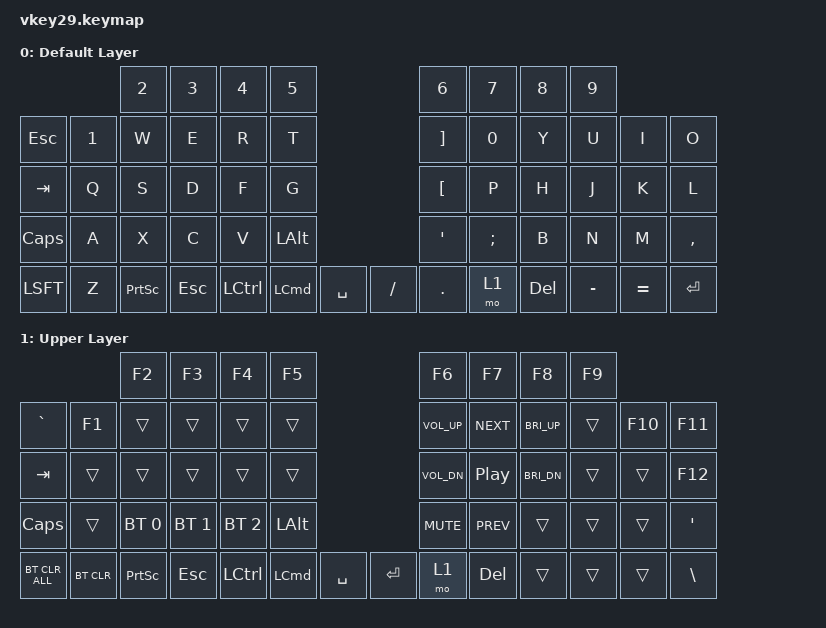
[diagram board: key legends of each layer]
#include <behaviors.dtsi>
#include <dt-bindings/zmk/keys.h>
#include <dt-bindings/zmk/bt.h>

/ {
    keymap {
        compatible = "zmk,keymap";

        default_layer {
            display-name = "Default Layer";
            bindings = <
                                  &kp N2   &kp N3   &kp N4   &kp N5                     &kp N6   &kp N7   &kp N8   &kp N9

                &kp ESC  &kp N1   &kp W    &kp E    &kp R    &kp T                      &kp RBKT  &kp N0    &kp Y    &kp U    &kp I   &kp O

                &kp TAB  &kp Q    &kp S    &kp D    &kp F    &kp G                      &kp LBKT  &kp P    &kp H    &kp J    &kp K    &kp L

                &kp CAPS &kp A    &kp X    &kp C    &kp V    &kp LALT                   &kp SQT &kp SEMI  &kp B  &kp N    &kp M &kp COMMA

                &kp LSFT &kp Z    &kp PSCRN &kp ESC &kp LCTRL &kp LCMD &kp SPC   &kp FSLH  &kp DOT  &mo 1    &kp DEL &kp MINUS &kp EQUAL &kp RET
            >;
        };

        upper_layer {
            display-name = "Upper Layer";
            bindings = <
                &kp F2   &kp F3   &kp F4   &kp F5         &kp F6       &kp F7     &kp F8       &kp F9

                &kp GRAVE &kp F1  &trans   &trans   &trans   &trans     &kp C_VOL_UP &kp C_NEXT &kp C_BRI_UP &trans  &kp F10 &kp F11

                &kp TAB  &trans   &trans   &trans   &trans   &trans     &kp C_VOL_DN &kp C_PP   &kp C_BRI_DN &trans  &trans  &kp F12

                &kp CAPS &trans   &bt BT_SEL 0 &bt BT_SEL 1 &bt BT_SEL 2 &kp LALT   &kp C_MUTE &kp C_PREV &trans  &trans  &trans  &kp SQT

                &bt BT_CLR_ALL &bt BT_CLR &kp PSCRN &kp ESC &kp LCTRL &kp LCMD &kp SPC   &kp RET  &mo 1    &kp DEL  &trans  &trans  &trans  &kp BSLH
            >;
        };
    };
};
